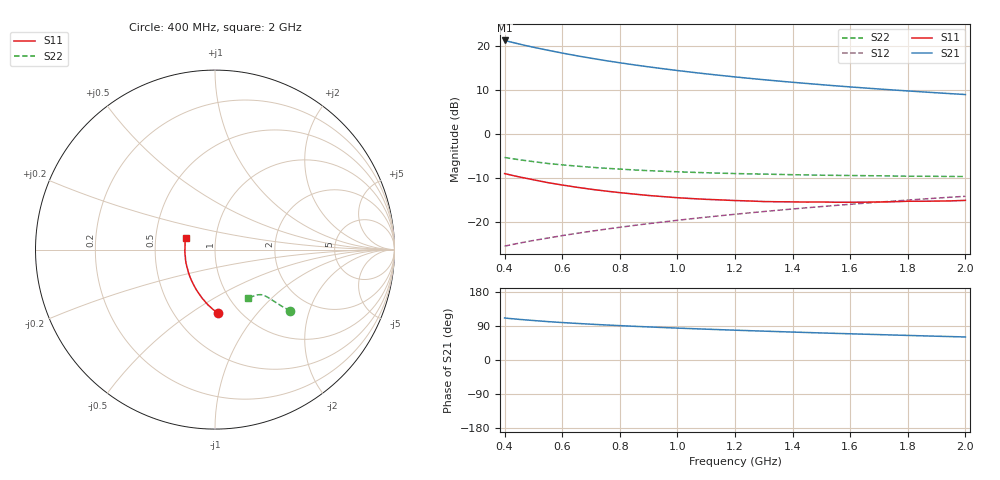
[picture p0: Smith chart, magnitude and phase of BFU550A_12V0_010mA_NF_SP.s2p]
! Filename:  P:\Prog\Test\Noise\ATS_data\Testdata_Net\06 Compressed Noise after Statistics\BFU550A_APG2013_35_C05_12p0V_010mA_NF_CM01_D.sf
! Date/Time: Tue 16/Apr/2013 15:11:33
! BFU550A_APG2013_35_C05_12p0V_1to35mA_NF_CM01_Bias5_R.sf
! Noise Parameter Data File
! BFU550A_APG2013_35_C05_12p0V_1to35mA_NF_CM01
! Date/time: Mon Apr 15 18:57:59 2013
! VAR V_out= 12.001000
! VAR I_out= 9.995000
! VAR V_in= 0.799000
! VAR I_in= 0.090105
! Device data file deembeded for feedlines and parallel
! Original file: \06 Compressed Noise after Statistics\BFU550A_APG2013_35_C05_12p0V_010mA_NF_CM01_R.sf
! Feed-files: PR017V01_150413_Feed1.s2p, PR017V01_150413_Feed2.s2p
! Parallel-file: PR017V01_150413_Par.s2p
# MHz S MA R 50
!  Freq-MHz  S11-mag  S11-arg  S21-mag  S21-arg  S12-mag  S12-arg  S22-mag  S22-arg
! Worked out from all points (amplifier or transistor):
!   37 points, 400 MHz to 2 GHz, reference 50 ohm
!   highest |S21| = 21.3 dB at 400 MHz (marker M1)
!   |S21| within 3 dB of that: start of sweep to 610.9 MHz
!   unconditionally stable (mu >= 1): 1.396 GHz to end of sweep
!   at 500 MHz: K = 0.79, MSG = 22.0 dB, |S12| = -24.2 dB
!   at 1.1 GHz: K = 0.98, MSG = 16.3 dB, |S12| = -18.9 dB
!   at 2 GHz: K = 1.01, MAG = 11.1 dB, |S12| = -14.2 dB
!   lowest NFmin = 0.79 dB at 420 MHz
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400  0.3548 -87.5  11.61 110.9  0.05295 64.5  0.541 -39.0
420  0.3425 -90.0  11.19 109.4  0.05473 64.5  0.5281 -39.4
440  0.3308 -92.5  10.79 107.9  0.05641 64.5  0.5163 -39.6
460  0.3206 -94.7  10.4 106.7  0.05808 64.7  0.5054 -40.0
480  0.3112 -97.1  10.05 105.4  0.05976 64.7  0.4947 -40.2
500  0.3016 -99.2  9.719 104.2  0.06144 64.8  0.4854 -40.4
550  0.28 -104.8  8.992 101.3  0.06549 65.2  0.4625 -40.7
600  0.2631 -109.5  8.347 98.8  0.06981 65.5  0.4459 -41.0
650  0.2482 -114.4  7.784 96.6  0.07404 65.8  0.4315 -41.3
700  0.2353 -118.9  7.291 94.5  0.07827 66.0  0.4189 -41.6
750  0.2246 -123.3  6.854 92.5  0.08254 66.3  0.408 -41.7
800  0.2153 -127.6  6.471 90.7  0.08686 66.5  0.3991 -42.0
850  0.2073 -132.0  6.126 88.9  0.09116 66.7  0.39 -42.3
950  0.1941 -140.0  5.538 85.7  0.09988 67.0  0.3771 -43.0
1050  0.1843 -147.7  5.049 82.8  0.1087 67.2  0.3669 -43.6
1150  0.178 -155.1  4.645 80.0  0.1177 67.2  0.3584 -44.5
1200  0.175 -158.6  4.468 78.7  0.1222 67.2  0.3553 -45.0
1350  0.1695 -168.3  4.011 74.9  0.1357 66.9  0.3473 -46.6
1500  0.1685 -177.8  3.644 71.4  0.1494 66.5  0.3401 -48.5
1600  0.1674 176.7  3.437 69.2  0.1587 66.2  0.3374 -49.8
1750  0.1696 168.9  3.171 65.9  0.1725 65.5  0.333 -51.9
2000  0.1758 157.7  2.815 60.8  0.1957 64.2  0.3284 -56.1
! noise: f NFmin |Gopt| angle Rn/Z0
400  0.8566  0.02391  26.54  0.1151
460  0.8271  0.06745  176.2  0.0912
600  0.8953  0.01321  36.99  0.1194
800  0.8884  0.06025  154.3  0.0947
1000  0.9  0.09324  166.9  0.0893
1200  0.9393  0.09608  164.3  0.0936
1400  0.9867  0.1229  -173.7  0.086
1600  0.9792  0.2129  -156.8  0.0693
1800  0.9603  0.2041  -161.3  0.0758
2000  0.9565  0.2246  -153.8  0.0773
